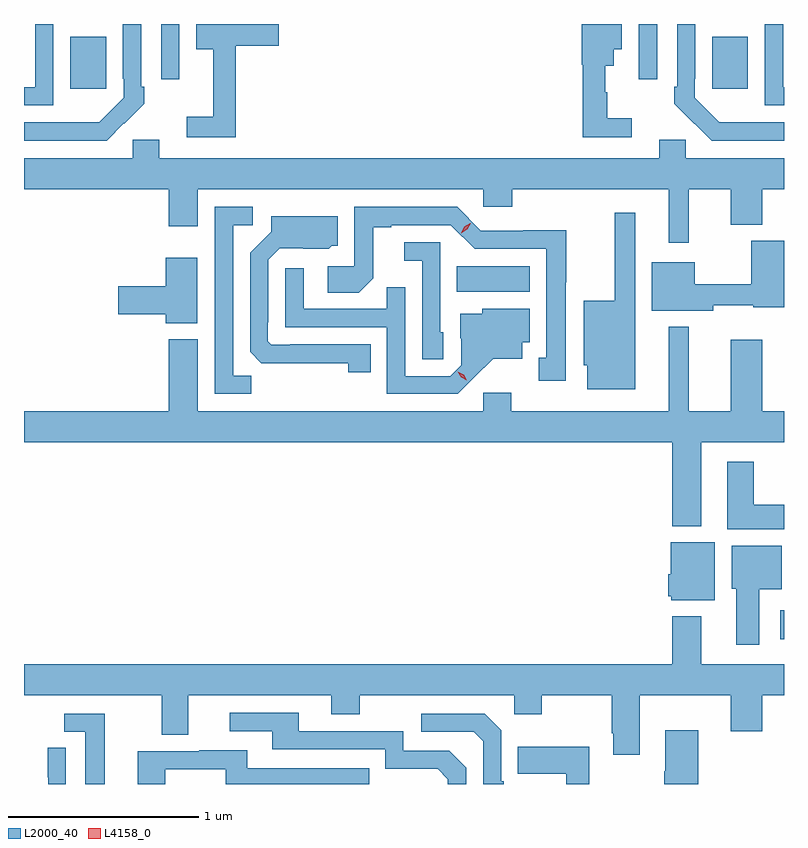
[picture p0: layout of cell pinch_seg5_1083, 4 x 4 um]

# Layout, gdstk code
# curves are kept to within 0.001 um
import gdstk
lib = gdstk.Library(unit=1e-6, precision=1e-09)
def R(c, l, rs):  # rectangles x0, y0, x1, y1
    for r in rs: c.add(gdstk.rectangle(r[:2], r[2:], *l))
def P(c, l, *ps):  # polygons
    for p in ps: c.add(gdstk.Polygon(p, *l))
L2000_40 = (2000, 40)
L4158_0 = (4158, 0)

pinch_seg5_1083 = lib.new_cell('pinch_seg5_1083')
R(pinch_seg5_1083, L2000_40, [(764.667,838.409,764.687,838.561), (762.964,840.236,763.348,840.37), (760.931,841.305,761.119,841.579), (764.309,841.305,764.497,841.579), (761.409,841.356,761.505,841.646), (763.923,841.356,764.019,841.646)])
P(pinch_seg5_1083, L2000_40, [(760.842,841.646),(760.746,841.646),(760.746,841.314),(760.687,841.314),(760.687,841.218),(760.842,841.218)],
  [(764.687,841.314),(764.682,841.314),(764.682,841.646),(764.586,841.646),(764.586,841.218),(764.687,841.218)],
  [(764.687,841.128),(764.346,841.129),(764.217,841.257),(764.217,841.357),(764.22,841.357),(764.22,841.646),(764.124,841.646),(764.124,841.315),(764.109,841.315),(764.109,841.227),(764.306,841.032),(764.687,841.032)],
  [(761.213,841.123),(761.214,841.122),(761.319,841.227),(761.319,841.315),(761.304,841.315),(761.304,841.646),(761.208,841.646),(761.208,841.357),(761.211,841.357),(761.211,841.257),(761.083,841.129),(760.687,841.128),(760.687,841.032),(761.122,841.032)],
  [(763.885,841.151),(763.756,841.151),(763.756,841.287),(763.745,841.287),(763.745,841.427),(763.792,841.427),(763.792,841.514),(763.834,841.514),(763.834,841.646),(763.622,841.646),(763.622,841.431),(763.627,841.431),(763.627,841.05),(763.885,841.05)],
  [(761.801,841.532),(762.029,841.532),(762.029,841.646),(761.594,841.646),(761.594,841.514),(761.684,841.514),(761.684,841.159),(761.544,841.159),(761.544,841.05),(761.801,841.05)],
  [(764.185,840.776),(764.408,840.776),(764.408,840.59),(764.572,840.59),(764.572,840.776),(764.687,840.776),(764.687,840.94),(764.169,840.94),(764.169,841.038),(764.03,841.038),(764.03,840.94),(761.398,840.94),(761.398,841.038),(761.259,841.038),(761.259,840.94),(760.687,840.94),(760.687,840.776),(761.45,840.776),(761.45,840.582),(761.602,840.582),(761.602,840.776),(763.104,840.776),(763.104,840.683),(763.256,840.683),(763.256,840.776),(764.081,840.776),(764.081,840.495),(764.185,840.495)],
  [(761.883,839.795),(761.787,839.795),(761.787,840.588),(761.89,840.588),(761.89,840.684),(761.691,840.684),(761.691,839.7),(761.883,839.7)],
  [(763.537,840.286),(763.54,840.286),(763.54,840.56),(763.314,840.56),(763.314,840.558),(763.092,840.558),(762.966,840.684),(762.426,840.684),(762.426,840.372),(762.285,840.372),(762.285,840.232),(762.449,840.232),(762.525,840.308),(762.525,840.576),(762.619,840.576),(762.619,840.588),(762.933,840.588),(763.059,840.462),(763.436,840.462),(763.436,839.889),(763.397,839.889),(763.397,839.769),(763.537,839.769)],
  [(763.903,840.652),(763.797,840.652),(763.797,840.19),(763.634,840.19),(763.634,839.85),(763.652,839.85),(763.652,839.723),(763.903,839.723)],
  [(762.512,839.961),(762.088,839.961),(762.088,839.958),(761.988,839.958),(761.97,839.976),(761.97,840.076),(761.973,840.076),(761.973,840.405),(762.033,840.465),(762.29,840.464),(762.306,840.48),(762.337,840.48),(762.337,840.634),(761.987,840.634),(761.987,840.552),(761.877,840.442),(761.877,839.92),(761.936,839.861),(762.394,839.86),(762.394,839.814),(762.512,839.814)],
  [(764.314,840.167),(764.526,840.167),(764.526,840.155),(764.687,840.155),(764.687,840.505),(764.515,840.505),(764.515,840.277),(764.218,840.277),(764.218,840.391),(763.991,840.391),(763.991,840.137),(764.314,840.137)],
  [(762.894,840.024),(762.879,840.024),(762.879,840.498),(762.687,840.498),(762.687,840.401),(762.783,840.401),(762.783,839.881),(762.894,839.881)],
  [(761.599,840.415),(761.432,840.415),(761.432,840.266),(761.184,840.266),(761.184,840.119),(761.432,840.119),(761.432,840.071),(761.599,840.071)],
  [(763.054,839.783),(763.157,839.885),(763.309,839.885),(763.309,839.972),(763.348,839.972),(763.348,840.148),(763.098,840.148),(763.098,840.121),(762.983,840.121),(762.983,839.992),(762.987,839.992),(762.987,839.85),(762.93,839.793),(762.693,839.793),(762.693,840.26),(762.595,840.26),(762.595,840.147),(762.159,840.147),(762.159,840.361),(762.063,840.361),(762.063,840.051),(762.597,840.051),(762.597,839.7),(762.97,839.7)],
  [(764.251,839.444),(764.687,839.444),(764.687,839.608),(764.572,839.608),(764.572,839.983),(764.408,839.983),(764.408,839.608),(764.185,839.608),(764.185,840.052),(764.081,840.052),(764.081,839.608),(763.251,839.608),(763.251,839.704),(763.104,839.704),(763.104,839.608),(761.602,839.608),(761.602,839.986),(761.45,839.986),(761.45,839.608),(760.687,839.608),(760.687,839.444),(764.099,839.444),(764.099,839.003),(764.251,839.003)],
  [(764.687,839.116),(764.527,839.116),(764.527,839.341),(764.387,839.341),(764.387,838.988),(764.687,838.988)],
  [(764.323,838.918),(764.09,838.918),(764.09,838.749),(764.078,838.749),(764.078,838.635),(764.094,838.635),(764.094,838.613),(764.323,838.613)],
  [(764.557,838.67),(764.674,838.67),(764.674,838.9),(764.411,838.9),(764.411,838.674),(764.435,838.674),(764.435,838.38),(764.557,838.38)],
  [(763.927,838.112),(764.408,838.112),(764.408,837.924),(764.572,837.924),(764.572,838.112),(764.687,838.112),(764.687,838.276),(764.251,838.276),(764.251,838.528),(764.099,838.528),(764.099,838.276),(760.687,838.276),(760.687,838.112),(761.411,838.112),(761.411,837.904),(761.551,837.904),(761.551,838.112),(762.305,838.112),(762.305,838.013),(762.453,838.013),(762.453,838.112),(763.266,838.112),(763.266,838.013),(763.413,838.013),(763.413,838.112),(763.78,838.112),(763.78,837.913),(763.787,837.913),(763.787,837.801),(763.927,837.801)],
  [(763.014,837.732),(762.924,837.822),(762.684,837.822),(762.684,837.924),(762.133,837.924),(762.133,838.02),(761.769,838.02),(761.769,837.924),(761.993,837.924),(761.993,837.828),(762.588,837.828),(762.588,837.725),(762.865,837.725),(762.918,837.672),(762.918,837.646),(763.014,837.646)],
  [(761.113,838.017),(760.899,838.017),(760.899,837.921),(761.009,837.921),(761.009,837.646),(761.113,837.646)],
  [(763.213,837.661),(763.2,837.661),(763.2,837.93),(763.113,838.017),(762.777,838.017),(762.777,837.921),(763.053,837.921),(763.104,837.87),(763.104,837.646),(763.213,837.646)],
  [(764.236,837.928),(764.063,837.928),(764.063,837.713),(764.056,837.713),(764.056,837.646),(764.236,837.646)],
  [(763.663,837.841),(763.285,837.841),(763.285,837.701),(763.542,837.701),(763.542,837.646),(763.663,837.646)],
  [(760.908,837.836),(760.812,837.836),(760.812,837.682),(760.814,837.682),(760.814,837.646),(760.908,837.646)],
  [(761.43,837.723),(761.748,837.723),(761.748,837.646),(762.503,837.646),(762.503,837.729),(761.863,837.729),(761.863,837.823),(761.609,837.823),(761.609,837.819),(761.285,837.819),(761.285,837.646),(761.43,837.646)])
P(pinch_seg5_1083, L4158_0, [(762.989,840.546),(762.989,840.546),(763.005,840.579),(763.036,840.598),(763.037,840.598),(763.037,840.598),(763.02,840.566),(762.989,840.546)],
  [(763.018,839.771),(762.987,839.786),(762.97,839.816),(762.97,839.816),(762.97,839.816),(763.001,839.801),(763.018,839.772),(763.018,839.771)])

lib.write_gds('pinch_seg5_1083.gds')
